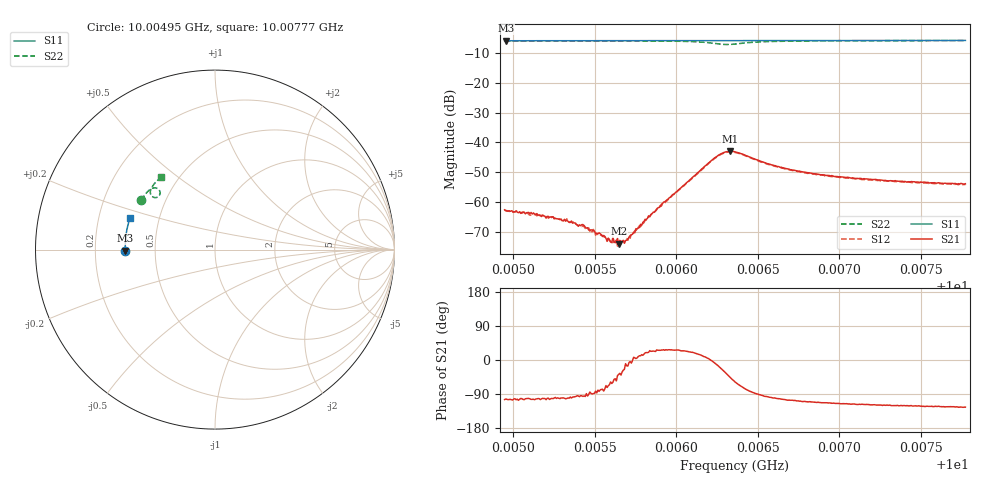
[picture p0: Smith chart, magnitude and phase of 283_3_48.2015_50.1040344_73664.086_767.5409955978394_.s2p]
#  HZ  S  RI  R  50.00
! Rohde & Schwarz Vector Network Analyzer
! Rohde-Schwarz,ZNB20-2Port,1311601062101988,3.16
! Created: UTC 3/20/2024, 11:48:46 AM
! freq[Hz]  re:S11  im:S11  re:S21  im:S21  re:S12  im:S12  re:S22  im:S22
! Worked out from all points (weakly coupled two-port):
!   401 points, 10.00495 GHz to 10.00777 GHz, reference 50 ohm
!   highest |S21| = -42.98 dB at 10.00633 GHz (marker M1); lowest = -73.8 dB at 10.00565 GHz (marker M2)
!   lowest |S11| = -6.0 dB at 10.00495 GHz (marker M3), VSWR 3.00, Z = 16.7 - j0.232 ohm
!   |S11| at or under -10 dB: nowhere
!   |S22| runs from -7.3 to -6.0 dB; largest |S21 - S12| = 0.00041
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1.0004947e10  -0.4995 -0.00551  -0.000185 -0.000725  -0.000121 -0.000722  -0.4111 0.275
1.0004954e10  -0.4994 -0.00521  -0.000161 -0.000702  -0.000125 -0.000725  -0.4108 0.2753
1.0005074e10  -0.4998 0.00272  -0.000136 -0.000627  -0.000125 -0.000658  -0.4064 0.2824
1.000511e10  -0.4998 0.00494  -0.000163 -0.000657  -9.57e-05 -0.000607  -0.405 0.2845
1.000518e10  -0.4999 0.00958  -0.000115 -0.000589  -7.68e-05 -0.000611  -0.4024 0.2888
1.0005364e10  -0.4998 0.0215  -6.2e-05 -0.000443  -4.1e-05 -0.000464  -0.3948 0.2995
1.0005421e10  -0.4998 0.0252  -3.39e-05 -0.000422  -2.97e-05 -0.000392  -0.3923 0.303
1.0005541e10  -0.4997 0.0329  6.18e-05 -0.00028  7.43e-05 -0.000273  -0.3868 0.3104
1.000559e10  -0.4996 0.0362  9.98e-05 -0.000217  0.000116 -0.000196  -0.3844 0.3134
1.0005647e10  -0.4993 0.0399  0.00016 -0.000127  0.000143 -0.00015  -0.3813 0.317
1.0005654e10  -0.4994 0.0402  0.000187 -0.000132  0.000199 -0.000119  -0.3811 0.3174
1.0005696e10  -0.4992 0.043  0.000225 -6.16e-05  0.000247 -3.69e-05  -0.3787 0.3201
1.0005817e10  -0.4986 0.0508  0.000486 0.000173  0.000467 0.000192  -0.3709 0.3277
1.0005894e10  -0.4983 0.0558  0.000737 0.000353  0.000713 0.000407  -0.3649 0.3329
1.0006227e10  -0.4956 0.0773  0.00523 -0.00043  0.00512 -0.000211  -0.3107 0.3314
1.0006283e10  -0.4951 0.0806  0.00598 -0.00283  0.00597 -0.00252  -0.3067 0.3094
1.0006333e10  -0.4947 0.0836  0.00489 -0.00514  0.00502 -0.00478  -0.3201 0.2926
1.0006361e10  -0.4944 0.0852  0.00371 -0.00589  0.00393 -0.00558  -0.3314 0.2897
1.0006601e10  -0.4926 0.1008  -0.000719 -0.00404  -0.000535 -0.00399  -0.3596 0.3285
1.0006834e10  -0.4899 0.1155  -0.00108 -0.00284  -0.000949 -0.00281  -0.3498 0.3514
1.0007308e10  -0.4829 0.1453  -0.0011 -0.002  -0.00104 -0.00201  -0.3258 0.3801
1.0007775e10  -0.4742 0.1741  -0.00115 -0.00168  -0.00103 -0.00168  -0.3022 0.4024
